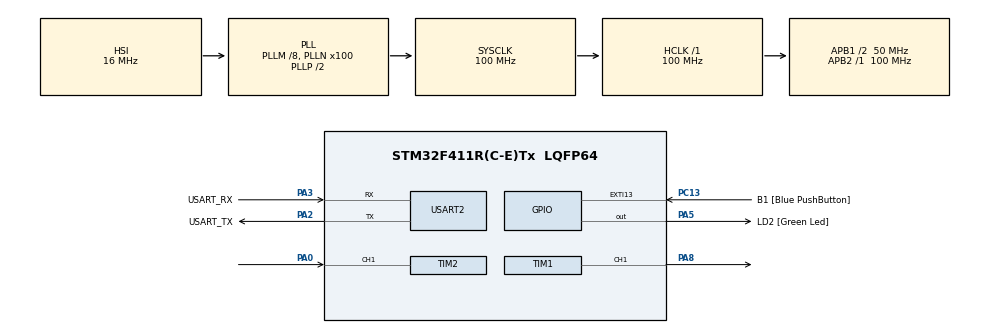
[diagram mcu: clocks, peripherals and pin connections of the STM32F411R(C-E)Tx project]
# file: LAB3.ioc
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Dma.Request0=TIM2_CH1
Dma.TIM2_CH1.0.Direction=DMA_PERIPH_TO_MEMORY
Dma.TIM2_CH1.0.FIFOMode=DMA_FIFOMODE_DISABLE
Dma.TIM2_CH1.0.Instance=DMA1_Stream5
Dma.TIM2_CH1.0.MemDataAlignment=DMA_MDATAALIGN_WORD
Dma.TIM2_CH1.0.MemInc=DMA_MINC_ENABLE
Dma.TIM2_CH1.0.Mode=DMA_CIRCULAR
Dma.TIM2_CH1.0.PeriphDataAlignment=DMA_PDATAALIGN_WORD
Dma.TIM2_CH1.0.PeriphInc=DMA_PINC_DISABLE
Dma.TIM2_CH1.0.Priority=DMA_PRIORITY_LOW
Mcu.Family=STM32F4
Mcu.Name=STM32F411R(C-E)Tx
Mcu.Package=LQFP64
NVIC.DMA1_Stream5_IRQn=true\:0\:0\:false\:false\:true\:false\:true\:true
NVIC.PriorityGroup=NVIC_PRIORITYGROUP_0
PA0-WKUP.Signal=S_TIM2_CH1_ETR
PA13.GPIO_Label=TMS
PA13.Mode=Serial_Wire
PA13.Signal=SYS_JTMS-SWDIO
PA14.GPIO_Label=TCK
PA14.Mode=Serial_Wire
PA14.Signal=SYS_JTCK-SWCLK
PA2.GPIO_Label=USART_TX
PA2.Mode=Asynchronous
PA2.Signal=USART2_TX
PA3.GPIO_Label=USART_RX
PA3.Mode=Asynchronous
PA3.Signal=USART2_RX
PA5.GPIO_Label=LD2 [Green Led]
PA5.Signal=GPIO_Output
PA8.Signal=S_TIM1_CH1
PB3.GPIO_Label=SWO
PB3.Signal=SYS_JTDO-SWO
PC13-ANTI_TAMP.GPIO_Label=B1 [Blue PushButton]
PC13-ANTI_TAMP.GPIO_ModeDefaultEXTI=GPIO_MODE_IT_FALLING
PC13-ANTI_TAMP.Signal=GPXTI13
PC14-OSC32_IN.Mode=LSE-External-Oscillator
PC14-OSC32_IN.Signal=RCC_OSC32_IN
PC15-OSC32_OUT.Mode=LSE-External-Oscillator
PC15-OSC32_OUT.Signal=RCC_OSC32_OUT
PH0\ -\ OSC_IN.Mode=HSE-External-Clock-Source
PH0\ -\ OSC_IN.Signal=RCC_OSC_IN
PH1\ -\ OSC_OUT.Mode=HSE-External-Clock-Source
PH1\ -\ OSC_OUT.Signal=RCC_OSC_OUT
ProjectManager.HeapSize=0x200
ProjectManager.StackSize=0x400
ProjectManager.TargetToolchain=STM32CubeIDE
RCC.48MHZClocksFreq_Value=50000000
RCC.AHBFreq_Value=100000000
RCC.APB1CLKDivider=RCC_HCLK_DIV2
RCC.APB1Freq_Value=50000000
RCC.APB1TimFreq_Value=100000000
RCC.APB2Freq_Value=100000000
RCC.APB2TimFreq_Value=100000000
RCC.CortexFreq_Value=100000000
RCC.FLatency-AdvancedSettings=FLASH_LATENCY_3
RCC.HCLKFreq_Value=100000000
RCC.HSE_VALUE=8000000
RCC.HSI_VALUE=16000000
RCC.PLLM=8
RCC.PLLN=100
RCC.SYSCLKFreq_VALUE=100000000
RCC.SYSCLKSource=RCC_SYSCLKSOURCE_PLLCLK
RCC.VCOOutputFreq_Value=200000000
SH.S_TIM1_CH1.0=TIM1_CH1,PWM Generation1 CH1
SH.S_TIM2_CH1_ETR.0=TIM2_CH1,Input_Capture1_from_TI1
TIM1.Channel-PWM\ Generation1\ CH1=TIM_CHANNEL_1
TIM1.Period=10000
TIM1.Prescaler=83
TIM2.Channel-Input_Capture1_from_TI1=TIM_CHANNEL_1
TIM2.ICFilter_CH1=5
TIM2.Prescaler=83
USART2.VirtualMode=VM_ASYNC
VP_TIM1_VS_ClockSourceINT.Mode=Internal
VP_TIM2_VS_ClockSourceINT.Mode=Internal
board=NUCLEO-F411RE

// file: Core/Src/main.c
/* USER CODE BEGIN Header */
/**
  ******************************************************************************
  * @file           : main.c
  * @brief          : Main program body
  ******************************************************************************
  * @attention
  *
  * Copyright (c) 2023 STMicroelectronics.
  * All rights reserved.
  *
  * This software is licensed under terms that can be found in the LICENSE file
  * in the root directory of this software component.
  * If no LICENSE file comes with this software, it is provided AS-IS.
  *
  ******************************************************************************
  */
/* USER CODE END Header */
#include "main.h"

/* USER CODE BEGIN Includes */
#include "string.h"
#include "stdio.h"
#define IC_BUFFER_SIZE 20
/* USER CODE END Includes */

TIM_HandleTypeDef htim1;
TIM_HandleTypeDef htim2;
DMA_HandleTypeDef hdma_tim2_ch1;

UART_HandleTypeDef huart2;

/* USER CODE BEGIN PV */
uint32_t InputCaptureBuffer[IC_BUFFER_SIZE];
float averageRisingedgePeriod;
uint32_t duty = 0;
float rpm = 0;
uint32_t MotorSetRPM = 0;
uint8_t MotorSetDuty = 0;
uint8_t MotorControlEnable = 0;
uint32_t Kp = 400;
uint32_t Ki = 2500;
int32_t duty_raw;
float e;
float e_integral;
uint32_t timestamp = 0;
uint16_t period = 5;
/* USER CODE END PV */

void SystemClock_Config(void);
static void MX_GPIO_Init(void);
static void MX_DMA_Init(void);
static void MX_USART2_UART_Init(void);
static void MX_TIM1_Init(void);
static void MX_TIM2_Init(void);
/* USER CODE BEGIN PFP */
float IC_Calc_period();
void PI();
void Set_Motor();
void RPM_Calculate();
/* USER CODE END PFP */

/* USER CODE BEGIN 0 */
char TxBuffer[30];
/* USER CODE END 0 */

int main(void)
{

  /* MCU Configuration--------------------------------------------------------*/

  /* Reset of all peripherals, Initializes the Flash interface and the Systick. */

	HAL_Init();

  /* Configure the system clock */
  SystemClock_Config();

  /* Initialize all configured peripherals */
  MX_GPIO_Init();
  MX_DMA_Init();
  MX_USART2_UART_Init();
  MX_TIM1_Init();
  MX_TIM2_Init();
  /* USER CODE BEGIN 2 */
  HAL_TIM_Base_Start(&htim2);
  HAL_TIM_IC_Start_DMA(&htim2, TIM_CHANNEL_1, InputCaptureBuffer, IC_BUFFER_SIZE);

  HAL_TIM_Base_Start(&htim1);
  HAL_TIM_PWM_Start(&htim1, TIM_CHANNEL_1);

  HAL_Delay(5000);
  /* USER CODE END 2 */

  /* Infinite loop */
  while (1)
  {

    /* USER CODE BEGIN 3 */
//	  static uint32_t timestamp = 0;
	  if (HAL_GetTick() >= timestamp)
	  {
		  timestamp = HAL_GetTick() + period;
		  Set_Motor();
		  RPM_Calculate();
	  }
  }
  /* USER CODE END 3 */
}

void SystemClock_Config(void)
{
  RCC_OscInitTypeDef RCC_OscInitStruct = {0};
  RCC_ClkInitTypeDef RCC_ClkInitStruct = {0};

  /** Configure the main internal regulator output voltage
  */
  __HAL_RCC_PWR_CLK_ENABLE();
  __HAL_PWR_VOLTAGESCALING_CONFIG(PWR_REGULATOR_VOLTAGE_SCALE1);

  /** Initializes the RCC Oscillators according to the specified parameters
  * in the RCC_OscInitTypeDef structure.
  */
  RCC_OscInitStruct.OscillatorType = RCC_OSCILLATORTYPE_HSI;
  RCC_OscInitStruct.HSIState = RCC_HSI_ON;
  RCC_OscInitStruct.HSICalibrationValue = RCC_HSICALIBRATION_DEFAULT;
  RCC_OscInitStruct.PLL.PLLState = RCC_PLL_ON;
  RCC_OscInitStruct.PLL.PLLSource = RCC_PLLSOURCE_HSI;
  RCC_OscInitStruct.PLL.PLLM = 8;
  RCC_OscInitStruct.PLL.PLLN = 100;
  RCC_OscInitStruct.PLL.PLLP = RCC_PLLP_DIV2;
  RCC_OscInitStruct.PLL.PLLQ = 4;
  if (HAL_RCC_OscConfig(&RCC_OscInitStruct) != HAL_OK)
  {
    Error_Handler();
  }

  /** Initializes the CPU, AHB and APB buses clocks
  */
  RCC_ClkInitStruct.ClockType = RCC_CLOCKTYPE_HCLK|RCC_CLOCKTYPE_SYSCLK
                              |RCC_CLOCKTYPE_PCLK1|RCC_CLOCKTYPE_PCLK2;
  RCC_ClkInitStruct.SYSCLKSource = RCC_SYSCLKSOURCE_PLLCLK;
  RCC_ClkInitStruct.AHBCLKDivider = RCC_SYSCLK_DIV1;
  RCC_ClkInitStruct.APB1CLKDivider = RCC_HCLK_DIV2;
  RCC_ClkInitStruct.APB2CLKDivider = RCC_HCLK_DIV1;

  if (HAL_RCC_ClockConfig(&RCC_ClkInitStruct, FLASH_LATENCY_3) != HAL_OK)
  {
    Error_Handler();
  }
}

static void MX_TIM1_Init(void)
{

  TIM_ClockConfigTypeDef sClockSourceConfig = {0};
  TIM_MasterConfigTypeDef sMasterConfig = {0};
  TIM_OC_InitTypeDef sConfigOC = {0};
  TIM_BreakDeadTimeConfigTypeDef sBreakDeadTimeConfig = {0};

  htim1.Instance = TIM1;
  htim1.Init.Prescaler = 83;
  htim1.Init.CounterMode = TIM_COUNTERMODE_UP;
  htim1.Init.Period = 10000;
  htim1.Init.ClockDivision = TIM_CLOCKDIVISION_DIV1;
  htim1.Init.RepetitionCounter = 0;
  htim1.Init.AutoReloadPreload = TIM_AUTORELOAD_PRELOAD_DISABLE;
  if (HAL_TIM_Base_Init(&htim1) != HAL_OK)
  {
    Error_Handler();
  }
  sClockSourceConfig.ClockSource = TIM_CLOCKSOURCE_INTERNAL;
  if (HAL_TIM_ConfigClockSource(&htim1, &sClockSourceConfig) != HAL_OK)
  {
    Error_Handler();
  }
  if (HAL_TIM_PWM_Init(&htim1) != HAL_OK)
  {
    Error_Handler();
  }
  sMasterConfig.MasterOutputTrigger = TIM_TRGO_RESET;
  sMasterConfig.MasterSlaveMode = TIM_MASTERSLAVEMODE_DISABLE;
  if (HAL_TIMEx_MasterConfigSynchronization(&htim1, &sMasterConfig) != HAL_OK)
  {
    Error_Handler();
  }
  sConfigOC.OCMode = TIM_OCMODE_PWM1;
  sConfigOC.Pulse = 0;
  sConfigOC.OCPolarity = TIM_OCPOLARITY_HIGH;
  sConfigOC.OCNPolarity = TIM_OCNPOLARITY_HIGH;
  sConfigOC.OCFastMode = TIM_OCFAST_DISABLE;
  sConfigOC.OCIdleState = TIM_OCIDLESTATE_RESET;
  sConfigOC.OCNIdleState = TIM_OCNIDLESTATE_RESET;
  if (HAL_TIM_PWM_ConfigChannel(&htim1, &sConfigOC, TIM_CHANNEL_1) != HAL_OK)
  {
    Error_Handler();
  }
  sBreakDeadTimeConfig.OffStateRunMode = TIM_OSSR_DISABLE;
  sBreakDeadTimeConfig.OffStateIDLEMode = TIM_OSSI_DISABLE;
  sBreakDeadTimeConfig.LockLevel = TIM_LOCKLEVEL_OFF;
  sBreakDeadTimeConfig.DeadTime = 0;
  sBreakDeadTimeConfig.BreakState = TIM_BREAK_DISABLE;
  sBreakDeadTimeConfig.BreakPolarity = TIM_BREAKPOLARITY_HIGH;
  sBreakDeadTimeConfig.AutomaticOutput = TIM_AUTOMATICOUTPUT_DISABLE;
  if (HAL_TIMEx_ConfigBreakDeadTime(&htim1, &sBreakDeadTimeConfig) != HAL_OK)
  {
    Error_Handler();
  }
  HAL_TIM_MspPostInit(&htim1);

}

static void MX_TIM2_Init(void)
{

  TIM_ClockConfigTypeDef sClockSourceConfig = {0};
  TIM_MasterConfigTypeDef sMasterConfig = {0};
  TIM_IC_InitTypeDef sConfigIC = {0};

  htim2.Instance = TIM2;
  htim2.Init.Prescaler = 83;
  htim2.Init.CounterMode = TIM_COUNTERMODE_UP;
  htim2.Init.Period = 4294967295;
  htim2.Init.ClockDivision = TIM_CLOCKDIVISION_DIV1;
  htim2.Init.AutoReloadPreload = TIM_AUTORELOAD_PRELOAD_DISABLE;
  if (HAL_TIM_Base_Init(&htim2) != HAL_OK)
  {
    Error_Handler();
  }
  sClockSourceConfig.ClockSource = TIM_CLOCKSOURCE_INTERNAL;
  if (HAL_TIM_ConfigClockSource(&htim2, &sClockSourceConfig) != HAL_OK)
  {
    Error_Handler();
  }
  if (HAL_TIM_IC_Init(&htim2) != HAL_OK)
  {
    Error_Handler();
  }
  sMasterConfig.MasterOutputTrigger = TIM_TRGO_RESET;
  sMasterConfig.MasterSlaveMode = TIM_MASTERSLAVEMODE_DISABLE;
  if (HAL_TIMEx_MasterConfigSynchronization(&htim2, &sMasterConfig) != HAL_OK)
  {
    Error_Handler();
  }
  sConfigIC.ICPolarity = TIM_INPUTCHANNELPOLARITY_RISING;
  sConfigIC.ICSelection = TIM_ICSELECTION_DIRECTTI;
  sConfigIC.ICPrescaler = TIM_ICPSC_DIV1;
  sConfigIC.ICFilter = 5;
  if (HAL_TIM_IC_ConfigChannel(&htim2, &sConfigIC, TIM_CHANNEL_1) != HAL_OK)
  {
    Error_Handler();
  }

}

static void MX_USART2_UART_Init(void)
{

  huart2.Instance = USART2;
  huart2.Init.BaudRate = 115200;
  huart2.Init.WordLength = UART_WORDLENGTH_8B;
  huart2.Init.StopBits = UART_STOPBITS_1;
  huart2.Init.Parity = UART_PARITY_NONE;
  huart2.Init.Mode = UART_MODE_TX_RX;
  huart2.Init.HwFlowCtl = UART_HWCONTROL_NONE;
  huart2.Init.OverSampling = UART_OVERSAMPLING_16;
  if (HAL_UART_Init(&huart2) != HAL_OK)
  {
    Error_Handler();
  }

}

static void MX_DMA_Init(void)
{

  /* DMA controller clock enable */
  __HAL_RCC_DMA1_CLK_ENABLE();

  /* DMA interrupt init */
  /* DMA1_Stream5_IRQn interrupt configuration */
  HAL_NVIC_SetPriority(DMA1_Stream5_IRQn, 0, 0);
  HAL_NVIC_EnableIRQ(DMA1_Stream5_IRQn);

}

static void MX_GPIO_Init(void)
{
  GPIO_InitTypeDef GPIO_InitStruct = {0};

  /* GPIO Ports Clock Enable */
  __HAL_RCC_GPIOC_CLK_ENABLE();
  __HAL_RCC_GPIOH_CLK_ENABLE();
  __HAL_RCC_GPIOA_CLK_ENABLE();
  __HAL_RCC_GPIOB_CLK_ENABLE();

  /*Configure GPIO pin Output Level */
  HAL_GPIO_WritePin(LD2_GPIO_Port, LD2_Pin, GPIO_PIN_RESET);

  /*Configure GPIO pin : B1_Pin */
  GPIO_InitStruct.Pin = B1_Pin;
  GPIO_InitStruct.Mode = GPIO_MODE_IT_FALLING;
  GPIO_InitStruct.Pull = GPIO_NOPULL;
  HAL_GPIO_Init(B1_GPIO_Port, &GPIO_InitStruct);

  /*Configure GPIO pin : LD2_Pin */
  GPIO_InitStruct.Pin = LD2_Pin;
  GPIO_InitStruct.Mode = GPIO_MODE_OUTPUT_PP;
  GPIO_InitStruct.Pull = GPIO_NOPULL;
  GPIO_InitStruct.Speed = GPIO_SPEED_FREQ_LOW;
  HAL_GPIO_Init(LD2_GPIO_Port, &GPIO_InitStruct);

}

/* USER CODE BEGIN 4 */
float IC_Calc_period()
{
	uint32_t currentDMAPointer = IC_BUFFER_SIZE - __HAL_DMA_GET_COUNTER((htim2.hdma[1]));

	uint32_t lastVaildDMAPointer = (currentDMAPointer - 1 +IC_BUFFER_SIZE)%IC_BUFFER_SIZE;

	uint32_t i = (lastVaildDMAPointer + IC_BUFFER_SIZE - 5)%IC_BUFFER_SIZE;

	int32_t sumdiff = 0;
	while (i != lastVaildDMAPointer)
	{
		uint32_t firstCapture = InputCaptureBuffer[i];

		uint32_t NextCapture = InputCaptureBuffer[(i+1)%IC_BUFFER_SIZE];
		sumdiff += NextCapture - firstCapture;
		i = (i+1)%IC_BUFFER_SIZE;
	}

	return sumdiff / 5.0;
}

void PI()
{
	e = MotorSetRPM - rpm;
	e_integral += e*(period/1000.0);

	duty_raw = Kp*e + Ki*e_integral;

	if(duty_raw>=10000)
	{
		duty = 10000;
	}
	else if(duty_raw <= 0)
	{
		duty = 0;
	}
	else duty = duty_raw;
}

int _write(int file, char *ptr, int len)
{
	int i;

	for(i = 0; i<len; i++)
	{
		ITM_SendChar(*ptr++);
	}
	return len;
}

void Set_Motor()
{
	switch(MotorControlEnable)
	{
	case 0:
		if(0 <= MotorSetDuty && MotorSetDuty <= 100)
		duty = MotorSetDuty * 100;
		break;

	case 1:
		PI();
		break;
	}

	__HAL_TIM_SET_COMPARE(&htim1,TIM_CHANNEL_1,duty);
}

void RPM_Calculate()
{
	averageRisingedgePeriod = IC_Calc_period();
	if(averageRisingedgePeriod == 0)
	{
		rpm = 0;
	}
	else rpm = (60*1000000/(12*averageRisingedgePeriod*64));
}

/* USER CODE END 4 */

void Error_Handler(void)
{
  __disable_irq();
  while (1)
  {
  }
}
